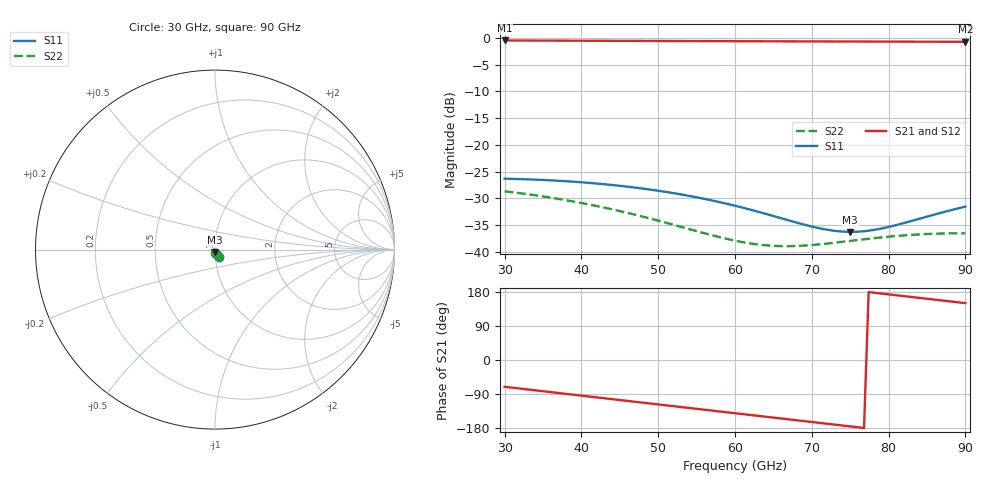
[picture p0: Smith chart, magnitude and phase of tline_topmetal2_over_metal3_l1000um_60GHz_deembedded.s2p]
! Created with skrf 2.0.1 (http://scikit-rf.org).
# GHz S DB R 50.0
!freq dBS11 angS11 dBS21 angS21 dBS12 angS12 dBS22 angS22
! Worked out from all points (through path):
!   101 points, 30 GHz to 90 GHz, reference 50 ohm
!   highest |S21| = -0.51 dB at 30 GHz (marker M1); lowest = -0.8 dB at 90 GHz (marker M2)
!   group delay of S21, straight-line fit = 6.44 ps
!   lowest |S11| = -36.2 dB at 75 GHz (marker M3), VSWR 1.03, Z = 49.8 - j1.53 ohm
!   |S11| at or under -10 dB: start of sweep to end of sweep
!   |S22| runs from -38.9 to -28.7 dB; largest |S21 - S12| = 1.1e-14
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30  -26.32 -65.5  -0.51 -70.8  -0.51 -70.8  -28.67 -64.4
33  -26.44 -72.8  -0.52 -77.7  -0.52 -77.7  -29.21 -71.7
35.4  -26.58 -78.4  -0.53 -83.3  -0.53 -83.3  -29.71 -77.2
37.8  -26.77 -83.8  -0.54 -88.9  -0.54 -88.9  -30.28 -82.5
40.2  -27.01 -89.1  -0.56 -94.5  -0.56 -94.5  -30.91 -87.5
42.6  -27.30 -94.1  -0.57 -100.1  -0.57 -100.1  -31.61 -92.1
45  -27.64 -98.8  -0.58 -105.6  -0.58 -105.6  -32.37 -96.3
47.4  -28.05 -103.3  -0.59 -111.2  -0.59 -111.2  -33.19 -99.9
50.4  -28.65 -108.5  -0.60 -118.2  -0.60 -118.2  -34.30 -103.4
55.2  -29.84 -115.3  -0.62 -129.3  -0.62 -129.3  -36.18 -105.7
60  -31.36 -119.7  -0.64 -140.4  -0.64 -140.4  -37.88 -103.2
62.4  -32.25 -120.4  -0.65 -146.0  -0.65 -146.0  -38.49 -100.1
64.8  -33.20 -119.9  -0.66 -151.6  -0.66 -151.6  -38.84 -96.5
67.2  -34.18 -117.7  -0.67 -157.1  -0.67 -157.1  -38.91 -93.1
70.2  -35.32 -111.9  -0.68 -164.1  -0.68 -164.1  -38.68 -90.0
72.6  -35.98 -104.8  -0.69 -169.7  -0.69 -169.7  -38.33 -88.9
75  -36.24 -96.3  -0.70 -175.2  -0.70 -175.2  -37.93 -89.2
77.4  -36.02 -87.6  -0.71 179.2  -0.71 179.2  -37.53 -90.7
80.4  -35.19 -78.7  -0.72 172.3  -0.72 172.3  -37.10 -94.0
82.8  -34.28 -73.9  -0.73 166.7  -0.73 166.7  -36.82 -97.5
85.2  -33.32 -71.1  -0.74 161.1  -0.74 161.1  -36.63 -101.8
90  -31.53 -69.8  -0.76 150.0  -0.76 150.0  -36.53 -111.9
